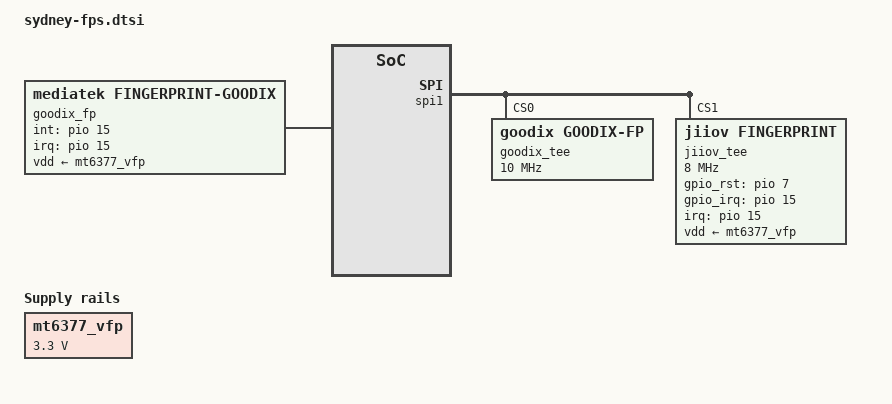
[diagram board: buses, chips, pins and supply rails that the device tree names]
&mt6377_vfp {
	regulator-min-microvolt = <3300000>;
	regulator-max-microvolt = <3300000>;
	//regulator-always-on;
};

&pio {

        fingerfp_rst_high: fingerfp_rst_high {
                pins_cmd_dat {
                        pinmux = <PINMUX_GPIO7__FUNC_GPIO7>;
                        slew-rate = <1>;
                        output-high;
                };
        };

        fingerfp_rst_low: fingerfp_rst_low {
                pins_cmd_dat {
                        pinmux = <PINMUX_GPIO7__FUNC_GPIO7>;
                        slew-rate = <1>;
                        output-low;
                };
        };

        fingerfp_irq_active: fingerfp_irq_active {
                pins_cmd_dat {
                        pinmux = <PINMUX_GPIO15__FUNC_GPIO15>;
                        slew-rate = <0>;
                        bias-disable;
                };
        };

        fingerfp_spi_active: fingerfp_spi_active {
                pins_cmd_dat {
                        pinmux = <PINMUX_GPIO63__FUNC_SPI1_MI>, <PINMUX_GPIO61__FUNC_SPI1_CSB>, <PINMUX_GPIO62__FUNC_SPI1_MO>, <PINMUX_GPIO60__FUNC_SPI1_CLK>;
                        drive-strength = <2>;
                };
        };

        fingerfp_spi_default: fingerfp_spi_default {
                pins_cmd_dat {
                        pinmux = <PINMUX_GPIO63__FUNC_GPIO63>, <PINMUX_GPIO61__FUNC_GPIO61>, <PINMUX_GPIO62__FUNC_GPIO62>, <PINMUX_GPIO60__FUNC_GPIO60>;
                        slew-rate = <1>;
                        output-low;
                };
        };
        fingerprint_irq: fingerprint_irq {
                pins_cmd_dat {
                        pinmux = <PINMUX_GPIO15__FUNC_GPIO15>;
                        slew-rate = <0>;
                        bias-disable;
                };
        };

        fingerprint_reset_high: fingerprint_reset_high {
                pins_cmd_dat {
                        pinmux = <PINMUX_GPIO7__FUNC_GPIO7>;
                        slew-rate = <1>;
                        output-high;
                };
        };

        fingerprint_reset_low: fingerprint_reset_low {
                pins_cmd_dat {
                        pinmux = <PINMUX_GPIO7__FUNC_GPIO7>;
                        slew-rate = <1>;
                        output-low;
                };
        };
	jiiov_fp_reset_output_low: jiiov_fp_reset_output_low {
		pins_cmd_dat {
		    pinmux = <PINMUX_GPIO7__FUNC_GPIO7>;
		    slew-rate = <1>;
		    output-low;
		};
	};

	jiiov_fp_reset_output_high: jiiov_fp_reset_output_high {
		pins_cmd_dat {
		    pinmux = <PINMUX_GPIO7__FUNC_GPIO7>;
		    slew-rate = <1>;
		    output-high;
		};
	};

	jiiov_fp_irq_default: jiiov_fp_irq_default {
		pins_cmd_dat {
		    pinmux = <PINMUX_GPIO15__FUNC_GPIO15>;
		    slew-rate = <0>;
		    bias-disable;
		};
	};

	jiiov_fp_spi_active: jiiov_fp_spi_active {
		pins_cmd_dat {
			pinmux = <PINMUX_GPIO63__FUNC_SPI1_MI>, <PINMUX_GPIO61__FUNC_SPI1_CSB>, <PINMUX_GPIO62__FUNC_SPI1_MO>, <PINMUX_GPIO60__FUNC_SPI1_CLK>;
			slew-rate = <0>;
			bias-disable;
		};
	};
};

/* FINGERPRINT start */
&spi1 {
        status = "okay";
        mediatek,pad-select = <0>, <1>;
        tee-only;

        goodix_tee@0 {
                compatible = "goodix,goodix-fp";
                reg = <0>;
                spi-max-frequency = <10000000>;
                netlink-event = <30>;
                status = "okay";
        };

   	jiiov_tee@1 {
		status = "okay";
		compatible = "jiiov,fingerprint","mediatec,fingerprint-jiiov";
		reg = <1>;
		spi-max-frequency = <8000000>;
		netlink-event = <30>;
		interrupt-parent = <&pio>;
		interrupts = <15 IRQ_TYPE_EDGE_RISING 15 0>;
		anc,gpio_rst = <&pio 7 0x00>;
		anc,gpio_irq = <&pio 15 0x00>;
		anc,enable-on-boot;
		anc,vdd_use_pmic;
		vdd-supply = <&mt6377_vfp>;
		anc,vdd_config = <3300000 3300000 150000>;
		pinctrl-names = "anc_reset_low", "anc_reset_high", "anc_irq_default";
		pinctrl-0 = <&jiiov_fp_reset_output_low>;
		pinctrl-1 = <&jiiov_fp_reset_output_high>, <&jiiov_fp_spi_active>;
		pinctrl-2 = <&jiiov_fp_irq_default>;
	};

};

&odm {
	goodix_fp: goodix_fp {
		compatible = "mediatek,fingerprint-goodix";
		interrupt-parent = <&pio>;

		interrupts = <15 IRQ_TYPE_EDGE_RISING 15 0>;
		pinctrl-names = "fingerprint_irq", "fingerprint_reset_high", "fingerprint_reset_low";
		pinctrl-0 = <&fingerfp_irq_active>;
		pinctrl-1 = <&fingerfp_rst_high>;
		pinctrl-2 = <&fingerfp_rst_low>;
		int-gpios = <&pio 15 0>;
		rgltr-ctrl-support;
		fp,vdd-supply = <&mt6377_vfp>;	// ldo for support module vcc
		fp,voltage-range = <3300000 3300000>;	// ldo voltage default 3.3V
		fp,vdd-current = <100000>;
		status = "okay";
	};
};

